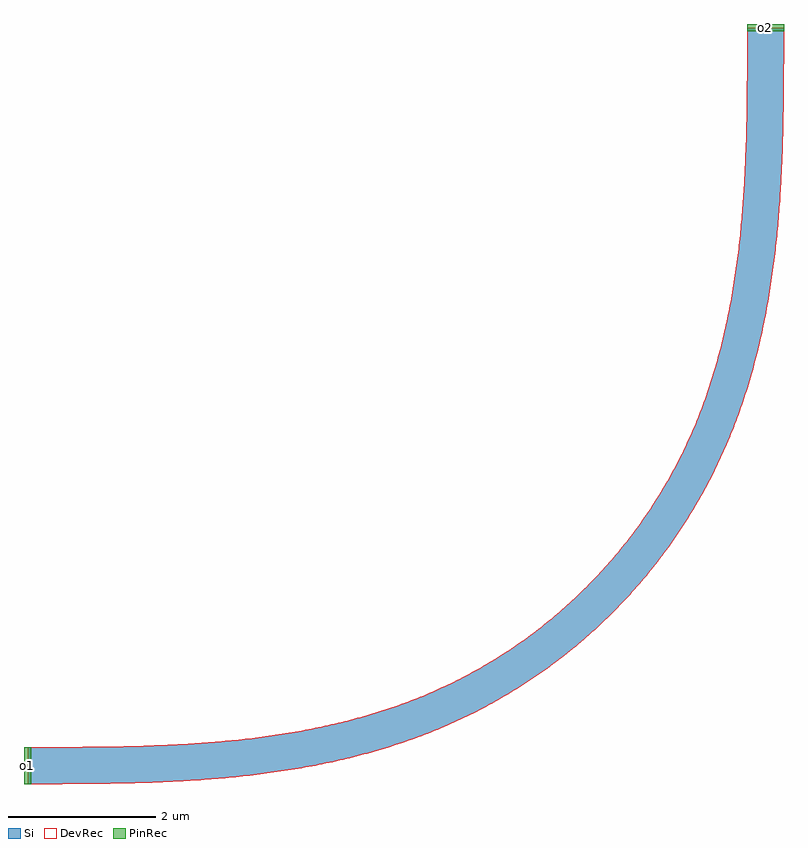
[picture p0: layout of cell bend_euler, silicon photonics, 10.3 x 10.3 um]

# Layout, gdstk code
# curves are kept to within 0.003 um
import gdstk
lib = gdstk.Library(unit=1e-6, precision=1e-09)
def R(c, l, rs):  # rectangles x0, y0, x1, y1
    for r in rs: c.add(gdstk.rectangle(r[:2], r[2:], *l))
def P(c, l, *ps):  # polygons
    for p in ps: c.add(gdstk.Polygon(p, *l))
Si = (1, 0)
PinRec = (1, 10)
DevRec = (68, 0)

bend_euler = lib.new_cell('bend_euler')
P(bend_euler, Si, [(0,-0.25),(0.935,-0.247),(1.498,-0.236),(2.158,-0.208),(2.724,-0.165),(3.196,-0.113),(3.525,-0.066),(3.761,-0.026),(4.229,0.069),(4.508,0.137),(4.739,0.201),(5.014,0.286),(5.242,0.365),(5.422,0.433),(5.691,0.544),(5.912,0.645),(6.13,0.754),(6.428,0.918),(6.595,1.018),(6.841,1.176),(7.158,1.402),(7.387,1.582),(7.536,1.707),(7.859,2.003),(7.997,2.141),(8.196,2.354),(8.356,2.538),(8.479,2.689),(8.627,2.881),(8.797,3.119),(9.033,3.488),(9.246,3.87),(9.355,4.088),(9.456,4.309),(9.567,4.578),(9.635,4.758),(9.714,4.986),(9.799,5.261),(9.863,5.492),(9.931,5.771),(10.026,6.239),(10.066,6.475),(10.113,6.804),(10.165,7.276),(10.208,7.842),(10.236,8.502),(10.247,9.065),(10.25,10),(9.75,10),(9.747,9.071),(9.74,8.654),(9.727,8.239),(9.694,7.643),(9.663,7.277),(9.634,7.004),(9.592,6.687),(9.55,6.417),(9.463,5.971),(9.39,5.662),(9.319,5.401),(9.253,5.185),(9.18,4.971),(9.118,4.802),(9.034,4.593),(8.884,4.263),(8.717,3.941),(8.508,3.59),(8.306,3.29),(8.088,3),(7.944,2.825),(7.824,2.688),(7.575,2.425),(7.312,2.176),(7.175,2.056),(7,1.912),(6.71,1.694),(6.41,1.492),(6.059,1.283),(5.737,1.116),(5.407,0.966),(5.198,0.882),(5.029,0.82),(4.815,0.747),(4.599,0.681),(4.338,0.61),(4.029,0.537),(3.583,0.45),(3.313,0.408),(2.996,0.366),(2.723,0.337),(2.357,0.306),(1.761,0.273),(1.346,0.26),(0.929,0.253),(0,0.25)])
R(bend_euler, PinRec, [(-0.05,-0.25,0.05,0.25), (9.75,9.95,10.25,10.05)])
P(bend_euler, DevRec, [(0,-0.25),(0.935,-0.247),(1.498,-0.236),(2.158,-0.208),(2.724,-0.165),(3.196,-0.113),(3.525,-0.066),(3.761,-0.026),(4.229,0.069),(4.508,0.137),(4.739,0.201),(5.014,0.286),(5.242,0.365),(5.422,0.433),(5.691,0.544),(5.912,0.645),(6.13,0.754),(6.428,0.918),(6.595,1.018),(6.841,1.176),(7.158,1.402),(7.387,1.582),(7.536,1.707),(7.859,2.003),(7.997,2.141),(8.196,2.354),(8.356,2.538),(8.479,2.689),(8.627,2.881),(8.797,3.119),(9.033,3.488),(9.246,3.87),(9.355,4.088),(9.456,4.309),(9.567,4.578),(9.635,4.758),(9.714,4.986),(9.799,5.261),(9.863,5.492),(9.931,5.771),(10.026,6.239),(10.066,6.475),(10.113,6.804),(10.165,7.276),(10.208,7.842),(10.236,8.502),(10.247,9.065),(10.25,10),(9.75,10),(9.747,9.071),(9.74,8.654),(9.727,8.239),(9.694,7.643),(9.663,7.277),(9.634,7.004),(9.592,6.687),(9.55,6.417),(9.463,5.971),(9.39,5.662),(9.319,5.401),(9.253,5.185),(9.18,4.971),(9.118,4.802),(9.034,4.593),(8.884,4.263),(8.717,3.941),(8.508,3.59),(8.306,3.29),(8.088,3),(7.944,2.825),(7.824,2.688),(7.575,2.425),(7.312,2.176),(7.175,2.056),(7,1.912),(6.71,1.694),(6.41,1.492),(6.059,1.283),(5.737,1.116),(5.407,0.966),(5.198,0.882),(5.029,0.82),(4.815,0.747),(4.599,0.681),(4.338,0.61),(4.029,0.537),(3.583,0.45),(3.313,0.408),(2.996,0.366),(2.723,0.337),(2.357,0.306),(1.761,0.273),(1.346,0.26),(0.929,0.253),(0,0.25)])
bend_euler.add(gdstk.FlexPath([(0.05,0),(-0.05,0)], 0.5, ends="flush", simple_path=True, layer=1, datatype=10))  # PinRec
bend_euler.add(gdstk.FlexPath([(10,9.95),(10,10.05)], 0.5, ends="flush", simple_path=True, layer=1, datatype=10))  # PinRec
bend_euler.add(gdstk.Label('o1', (0,0), layer=1, texttype=10))
bend_euler.add(gdstk.Label('o2', (10,10), layer=1, texttype=10))

lib.write_gds('bend_euler.gds')
